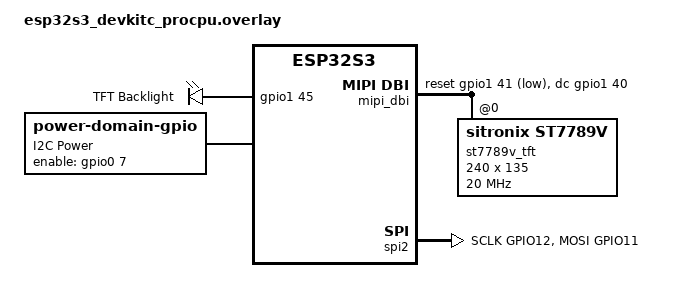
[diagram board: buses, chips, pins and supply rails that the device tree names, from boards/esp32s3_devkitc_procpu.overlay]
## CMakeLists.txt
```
cmake_minimum_required(VERSION 3.20.0)
find_package(Zephyr REQUIRED HINTS $ENV{ZEPHYR_BASE})
project(tft_console)

FILE(GLOB app_sources src/*.c)
target_sources(app PRIVATE ${app_sources})
```

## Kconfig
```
mainmenu "LCD console sample"

menu "LCD console sample configuration"

config LCD_CONSOLE_MIRROR
	bool "Mirror UART shell activity to LCD"
	default y
	depends on LVGL && SHELL
	help
	  Mirror serial shell input/output and LOG messages onto the LVGL based
	  LCD console widget used in this sample.

config LCD_CONSOLE_LOG_BUFFER_SIZE
	int "LCD log backend buffer size"
	default 256
	depends on LCD_CONSOLE_MIRROR && LOG
	help
	  Temporary buffer size, in bytes, used by the LCD log backend when
	  formatting log messages.

endmenu

source "Kconfig.zephyr"
```

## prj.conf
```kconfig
CONFIG_LOG=y

CONFIG_SPI=y
CONFIG_GPIO=y
CONFIG_DISPLAY=y

# 启用 MIPI DBI for LCD
CONFIG_MIPI_DBI=y
CONFIG_MIPI_DBI_SPI=y

# 启用 LVGL 核心功能
CONFIG_LVGL=y
CONFIG_LV_COLOR_DEPTH_16=y
CONFIG_LV_USE_LABEL=y
CONFIG_LV_USE_BUTTON=y
CONFIG_LV_USE_BAR=y
CONFIG_LV_USE_SLIDER=y
CONFIG_LV_USE_ARC=y
CONFIG_LV_USE_SWITCH=y
CONFIG_LV_USE_CHECKBOX=y
CONFIG_LV_USE_THEME_DEFAULT=n
CONFIG_LV_USE_LOG=y

# 字体配置 - 清晰位图字体
CONFIG_LV_FONT_MONTSERRAT_12=y
CONFIG_LV_FONT_MONTSERRAT_8=y
CONFIG_LV_FONT_MONTSERRAT_18=y
CONFIG_LV_FONT_DEFAULT_MONTSERRAT_8=y
CONFIG_LV_FONT_UNSCII_8=y
CONFIG_LV_FONT_UNSCII_16=y

# 内存和性能优化
CONFIG_LV_Z_MEM_POOL_SIZE=32768
CONFIG_LV_Z_BUFFER_ALLOC_STATIC=y

# 启用复杂绘制以避免警告
CONFIG_LV_DRAW_SW_COMPLEX=y

# 显示器设置 - 确保像素完美
CONFIG_LV_COLOR_16_SWAP=n

# LVGL 显示缓冲区配置 - 最小化以减少花色
CONFIG_LV_Z_VDB_SIZE=10
CONFIG_LV_Z_MEM_POOL_SYS_HEAP=y

# LVGL 刷新配置 - 提高刷新率以获得更清晰显示
CONFIG_LV_DEF_REFR_PERIOD=30
CONFIG_LV_Z_AUTO_INIT=y
CONFIG_LV_Z_FLUSH_THREAD=n

# Shell 配置 - 使用串口shell输入，LCD显示输出
CONFIG_SHELL=y
CONFIG_SHELL_BACKENDS=y
CONFIG_SHELL_BACKEND_DUMMY=y

# Shell输出重定向配置
CONFIG_SHELL_LOG_BACKEND=y

# Shell 扩展功能
CONFIG_SHELL_CMDS=y
CONFIG_SHELL_HISTORY=y
CONFIG_SHELL_HISTORY_BUFFER=128
CONFIG_SHELL_STATS=y

# 控制台和打印重映射 - 保持串口可用，添加LCD后端
CONFIG_CONSOLE=y
CONFIG_CONSOLE_SUBSYS=y
CONFIG_CONSOLE_HANDLER=y
CONFIG_STDOUT_CONSOLE=y

# LOG系统 - 启用串口和自定义后端
CONFIG_LOG_BACKEND_UART=y
CONFIG_LOG_BACKEND_RTT=n

# 启用输入子系统支持
CONFIG_INPUT=y

# 启用串口Shell作为输入源（通过UART输入命令）
CONFIG_SHELL_BACKEND_SERIAL=y
CONFIG_SHELL_PROMPT_UART="s3:~$ "

# 启用控制台重定向支持
CONFIG_UART_CONSOLE=y

# 添加串口输入输出重定向
CONFIG_PRINTK=y
CONFIG_EARLY_CONSOLE=y
CONFIG_HEAP_MEM_POOL_SIZE=16384

# 增加堆栈大小
CONFIG_MAIN_STACK_SIZE=8192
CONFIG_SYSTEM_WORKQUEUE_STACK_SIZE=8192
```

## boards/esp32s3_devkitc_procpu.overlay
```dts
/*
 *	FT display overlay for ESP32-S3 DevKitC
 */
/ {
	chosen {
		zephyr,display = &st7789v_tft;
	};

	aliases {
		backlight = &tft_backlight;
	};

	leds {
		compatible = "gpio-leds";
		status = "okay";

		tft_backlight: tft_backlight {
			label = "TFT Backlight";
			gpios = <&gpio1 45 GPIO_ACTIVE_HIGH>;
		};
	};

	mipi_dbi {
		compatible = "zephyr,mipi-dbi-spi";
		spi-dev = <&spi2>;
		dc-gpios = <&gpio1 40 GPIO_ACTIVE_HIGH>;
		reset-gpios = <&gpio1 41 GPIO_ACTIVE_LOW>;
		write-only;
		#address-cells = <1>;
		#size-cells = <0>;

		st7789v_tft: st7789v_tft@0 {
			compatible = "sitronix,st7789v";
			status = "okay";

			/* Also powered by i2c_reg */
			power-domains = <&i2c_reg>;

			mipi-max-frequency = <DT_FREQ_M(20)>;
			reg = <0>;
			width = <240>;
			height = <135>;
			x-offset = <40>;
			y-offset = <52>;
			vcom = <0x20>;
			gctrl = <0x35>;
			vrhs = <0x0b>;
			vdvs = <0x20>;
			mdac = <0x68>;
			gamma = <0x01>;
			colmod = <0x55>;
			lcm = <0x2c>;
			porch-param = [0c 0c 00 33 33];
			cmd2en-param = [5a 69 02 01];
			pwctrl1-param = [a4 a1];
			pvgam-param = [70 2C 2E 15 10 09 48 33 53 0B 19 18 20 25];
			nvgam-param = [70 2C 2E 15 10 09 48 33 53 0B 19 18 20 25];
			ram-param = [00 F0];
			rgb-param = [40 02 14];
			mipi-mode = "MIPI_DBI_MODE_SPI_4WIRE";
		};
	};

	/*
	 *	On-board regulator powers I2C pull-ups and external devices connected
	 *	via the STEMMA QT connector.
	 */
	i2c_reg: i2c_reg {
		label = "I2C Power";
		compatible = "power-domain-gpio";
		#power-domain-cells = <0>;
		enable-gpios = <&gpio0 7 GPIO_ACTIVE_HIGH>;
	};

};

&spi2 { 
	status = "okay"; 
	cs-gpios = <&gpio0 10 GPIO_ACTIVE_LOW>; 
	pinctrl-0 = <&spi2_pins>; 
	pinctrl-names = "default"; 
}; 

&pinctrl { 
	spi2_pins: spi2_pins { 
		group1 { 
			pinmux = <SPIM2_SCLK_GPIO12>; 
		}; 
		group2 { 
			pinmux = <SPIM2_MOSI_GPIO11>; 
			output-enable; 
		}; 
	}; 
};
```

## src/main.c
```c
/*
 * ESP32-S3 TFT Display with Real Interactive Shell
 * Copyright (c) 2025 Heiweilu
 *
 * SPDX-License-Identifier: Apache-2.0
 */

#include <zephyr/kernel.h>
#include <zephyr/device.h>
#include <zephyr/devicetree.h>
#include <zephyr/shell/shell.h>
#include <zephyr/logging/log.h>
#include <zephyr/sys/printk.h>
#include <zephyr/console/console.h>
#include <zephyr/input/input.h>
#include <zephyr/drivers/uart.h>
#include <zephyr/shell/shell_uart.h>
#include <stdarg.h>
#include <stdio.h>
#include <string.h>
#include <stdint.h>
#include "lvgl_wrapper.h"

LOG_MODULE_REGISTER(main, LOG_LEVEL_INF);

/* Real interactive shell includes */
#include "lcd_shell_backend.h"

/* ================= LCD initialization ================= */
#include <zephyr/drivers/display.h>
#include <zephyr/drivers/gpio.h>

#define TFT_NODE DT_CHOSEN(zephyr_display)

#if DT_NODE_EXISTS(TFT_NODE)
static const struct gpio_dt_spec backlight = GPIO_DT_SPEC_GET(DT_ALIAS(backlight), gpios);
#endif

static int lcd_init(void)
{
	const struct device *disp = DEVICE_DT_GET(TFT_NODE);
	if (!device_is_ready(disp)) {
		LOG_ERR("Display not ready");
		return -ENODEV;
	}

	LOG_INF("Display device ready: %s", disp->name);

#if DT_NODE_EXISTS(TFT_NODE) && DT_NODE_EXISTS(DT_ALIAS(backlight))
	if (gpio_is_ready_dt(&backlight)) {
		gpio_pin_configure_dt(&backlight, GPIO_OUTPUT_ACTIVE);
	}
#endif

	/* Get display capabilities and log them */
	struct display_capabilities caps;
	display_get_capabilities(disp, &caps);

	/* Turn off display blanking */
	display_blanking_off(disp);
	k_msleep(500);

	return 0;
}

/* ================= LVGL & GUI Setup ================= */
#include <lvgl.h>
#include <stdio.h>
#include <string.h>

LV_FONT_DECLARE(lv_font_unscii_8)

/* GUI Application Structure */
typedef struct {
	lv_obj_t *main_screen;
	lv_obj_t *console_container;
	lv_obj_t *status_bar;
	lv_obj_t *status_label;
	lv_obj_t *console_label;
} gui_app_t;

static gui_app_t app = {0};

/* Shell display buffer */
#define SHELL_DISPLAY_BUFFER_SIZE 2048
static char shell_display_buffer[SHELL_DISPLAY_BUFFER_SIZE] = {0};
static size_t shell_display_len = 0;

/* Current input line received from backend (real-time) */
#define CURRENT_INPUT_LINE_SIZE 256
static char current_input_line[CURRENT_INPUT_LINE_SIZE] = {0};
static size_t current_input_len = 0;

/* Display update tracking */
static bool display_update_needed = false;

/* ================= ANSI Filtering Helper Functions ================= */

/**
 * @brief Check if a short data packet is an ANSI escape sequence fragment
 *
 * Shell may send ANSI sequences in fragments like:
 * - [1B 5B 6D] = ESC[m (complete sequence)
 * - [5B 6D] = [m (fragment missing ESC)
 * - [6D] = m (lone 'm' character)
 * - [3B 33 32 6D] = ;32m (color code fragment)
 *
 * This function detects and rejects all such fragments.
 *
 * @param data Pointer to data buffer
 * @param len Length of data
 * @return true if data is ANSI garbage and should be filtered
 */
static bool is_ansi_escape_fragment(const char *data, size_t len)
{
	if (len < 1 || len > 6) {
		return false;
	}

	/* Pattern 1: Reject any sequence ending with 'm' (0x6D) */
	if (data[len - 1] == 'm') {
		/* Check if this looks like ANSI garbage */
		bool is_ansi_garbage = false;

		/* Pattern: ends with 'm' and contains '[', digits, or ';' */
		for (size_t i = 0; i < len; i++) {
			char c = data[i];
			if (c == '[' || c == ';' || (c >= '0' && c <= '9') || c == 0x1B) {
				is_ansi_garbage = true;
				break;
			}
		}

		/* Also reject standalone 'm' or very short sequences ending in 'm' */
		if (len == 1 || is_ansi_garbage) {
			return true;
		}
	}

	/* Pattern 2: Reject sequences starting with '[' that look like ANSI fragments */
	if (data[0] == '[' && len >= 2) {
		char second = data[1];
		/* If second char is digit, 'm', 'J', 'D', or ';' - likely ANSI */
		if (second == 'm' || second == 'J' || second == 'D' || second == 'H' ||
		    second == ';' || (second >= '0' && second <= '9')) {
			return true;
		}
	}

	return false;
}

/**
 * @brief Check if data contains only control characters (non-printable)
 *
 * @param data Pointer to data buffer
 * @param len Length of data
 * @return true if data contains only unexpected control characters
 */
static bool is_control_only(const char *data, size_t len)
{
	if (len == 0) {
		return true;
	}

	bool has_control_only = true;
	for (size_t i = 0; i < len; i++) {
		uint8_t c = (uint8_t)data[i];
		/* Allow only specific control chars: newline, tab, backspace, carriage return, ESC
		 */
		if (c >= 32 || c == '\n' || c == '\t' || c == '\b' || c == '\r' || c == 0x1B) {
			has_control_only = false;
			break;
		}
	}

	return has_control_only;
}

/**
 * @brief Process a single character for display filtering
 *
 * This function implements aggressive filtering to prevent ANSI escape
 * sequence fragments from appearing on the LCD display.
 *
 * @param c Character to process
 * @param data Full data buffer (for lookahead)
 * @param len Length of full data buffer
 * @param i Current index in data buffer
 * @return true if character should be skipped
 */
static bool should_skip_character(char c, const char *data, size_t len, size_t i)
{
	/* If this is '[', peek ahead to see if it's part of ANSI code */
	if (c == '[' && i + 1 < len) {
		char next = data[i + 1];
		if ((next >= '0' && next <= '9') || next == 'm' || next == ';') {
			return true;
		}
	}

	/* If this is 'm' and previous char in buffer was '[' or digit, skip it */
	if (c == 'm' && shell_display_len > 0) {
		char prev = shell_display_buffer[shell_display_len - 1];
		if (prev == '[' || (prev >= '0' && prev <= '9') || prev == ';') {
			/* This 'm' is likely the end of an ANSI code, skip it */
			/* Also remove any trailing ANSI garbage from buffer */
			while (shell_display_len > 0) {
				char ch = shell_display_buffer[shell_display_len - 1];
				if (ch == '[' || (ch >= '0' && ch <= '9') || ch == ';') {
					shell_display_len--;
				} else {
					break;
				}
			}
			return true;
		}
	}

	/* Skip digits and semicolons if they appear right after '[' */
	if ((c >= '0' && c <= '9') || c == ';') {
		if (shell_display_len > 0 && shell_display_buffer[shell_display_len - 1] == '[') {
			return true;
		}
	}

	return false;
}

/**
 * @brief Process shell output data and add to display buffer
 *
 * Only allows printable ASCII (32-126), newline, tab, and backspace.
 * Filters out all ANSI escape sequences and control characters.
 *
 * @param data Pointer to output data
 * @param len Length of data
 */
static void process_shell_output(const char *data, size_t len)
{
	for (size_t i = 0; i < len; i++) {
		char c = data[i];

		if (c == '\n') {
			/* Allow newline */
			if (shell_display_len < sizeof(shell_display_buffer) - 1) {
				shell_display_buffer[shell_display_len++] = '\n';
			}
		} else if (c == '\b') {
			/* Handle backspace */
			if (shell_display_len > 0) {
				shell_display_len--;
			}
		} else if (c == '\t') {
			/* Allow tab */
			if (shell_display_len < sizeof(shell_display_buffer) - 1) {
				shell_display_buffer[shell_display_len++] = '\t';
			}
		} else if (c >= 32 && c <= 126) {
			/* Only allow printable ASCII characters (space to ~) */
			if (!should_skip_character(c, data, len, i) &&
			    shell_display_len < sizeof(shell_display_buffer) - 1) {
				shell_display_buffer[shell_display_len++] = c;
			}
		}
		/* All other characters (ESC, control chars, etc.) are silently dropped */
	}

	shell_display_buffer[shell_display_len] = '\0';

	/* Keep only last ~1500 chars to prevent overflow */
	if (shell_display_len > 1500) {
		size_t keep_len = 1000;
		memmove(shell_display_buffer, shell_display_buffer + (shell_display_len - keep_len),
			keep_len);
		shell_display_len = keep_len;
		shell_display_buffer[shell_display_len] = '\0';
	}
}

/* ================= Shell Output Callback ================= */

/* Shell output callback - called when shell produces output */
static void shell_output_callback(const char *data, size_t len)
{
	if (!data || len == 0) {
		return;
	}

	/* ULTRA-AGGRESSIVE FILTER: Block ANY data containing ANSI escape patterns.
	 * Based on hex dump analysis, shell sends fragments like:
	 * - [1B 5B 6D] = ESC[m (complete, should be filtered by state machine)
	 * - [5B 6D] = [m (fragment missing ESC)
	 * - [6D] = m (lone 'm' character)
	 * - [3B 33 32 6D] = ;32m (ANSI color code fragment)
	 * We must reject ALL of these.
	 */
	if (is_ansi_escape_fragment(data, len)) {
		return; /* Skip ANSI fragment */
	}

	/* Filter out control-only data */
	if (is_control_only(data, len)) {
		return;
	}

	/* Special-case: backend may send input-only updates prefixed with 0x1F (unit separator)
	 * Format: 0x1F <input bytes...>
	 * When detected, update current_input_line immediately and return.
	 */
	if (len > 0 && (uint8_t)data[0] == 0x1F) {
		size_t copy_len = len - 1;

		if (copy_len >= CURRENT_INPUT_LINE_SIZE) {
			copy_len = CURRENT_INPUT_LINE_SIZE - 1;
		}

		memcpy(current_input_line, data + 1, copy_len);

		current_input_line[copy_len] = '\0';
		current_input_len = copy_len;
		display_update_needed = true;

		LOG_INF("main: received input update len=%zu content='%s'", copy_len,
			current_input_line);

		return;
	}

	/* Process and filter shell output */
	process_shell_output(data, len);

	/* Mark that display needs update */
	display_update_needed = true;
}

/* Shell output capture mechanism */
static bool shell_capture_active = false;

/* Transport write function interception */
static int (*original_uart_write)(const struct shell_transport *transport, const void *data,
				  size_t length, size_t *cnt) = NULL;
/* Transport read function interception (to capture input bytes) */
static int (*original_uart_read)(const struct shell_transport *transport, void *data, size_t length,
				 size_t *cnt) = NULL;

/* Small buffer to remember last intercepted read (to track tab completion)
 * When user presses Tab, we detect the tab in read, then capture the completion
 * text from the subsequent write and forward it to update the input display.
 */
#define LAST_READ_BUF_SIZE 32
#define ECHO_WINDOW_MS     200

typedef struct {
	uint8_t last_read_buf[LAST_READ_BUF_SIZE];
	size_t last_read_len;
	uint32_t last_read_ts;
	bool last_read_was_tab;
} last_read_t;
last_read_t last_read = {0};

/* Intercepted UART transport write function */
static int intercepted_uart_write(const struct shell_transport *transport, const void *data,
				  size_t length, size_t *cnt)
{
	/* Forward to LCD if capture is active */
	if (shell_capture_active && data && length > 0) {
		const char *str = (const char *)data;

		/* Filter out LOG messages to avoid infinite recursion */
		if (length < 20 || strncmp(str, "[00:", 4) != 0) {
			/* Forward to output callback for display history */
			shell_output_callback(str, length);

			/* Special handling for tab completion:
			 * If the last read was a tab character and this write contains
			 * printable characters (the completion), update the input buffer.
			 */
			if (last_read.last_read_was_tab && length > 0 && length < 64) {
				/* Check if this looks like a completion (printable chars, no
				 * newline) */
				bool looks_like_completion = true;
				for (size_t i = 0; i < length; i++) {
					char c = str[i];
					if (c == '\n' || c == '\r' || c == 0x1B) {
						looks_like_completion = false;
						break;
					}
					if (c < 32 && c != '\t' && c != '\b') {
						looks_like_completion = false;
						break;
					}
				}

				if (looks_like_completion) {
					/* This is likely tab completion output - forward to input
					 * handler */
					LOG_DBG("Tab completion detected, forwarding %zu bytes to "
						"input",
						length);
					lcd_shell_send_input(str, length);
					last_read.last_read_was_tab = false; /* Reset flag */
				}
			}
		}
	}

	/* Call original write function */
	if (original_uart_write) {
		return original_uart_write(transport, data, length, cnt);
	} else {
		*cnt = length;
		return 0;
	}
}

static void lvgl_init(void)
{
	/* Initialize main screen */
	app.main_screen = lv_screen_active();
	lv_obj_set_style_bg_color(app.main_screen, lv_color_black(), LV_PART_MAIN);
	lv_obj_set_style_bg_opa(app.main_screen, LV_OPA_COVER, LV_PART_MAIN);

	/* Create status bar */
	app.status_bar = create_container(app.main_screen, 240, 20, 0, 0, 2, 1,
					  lv_color_make(0x40, 0x40, 0x40), 0,
					  lv_color_make(0x20, 0x20, 0x20), 0);

	app.status_label = create_label(app.status_bar, "ESP32-S3 Interactive Shell", 2, 2, 230,
					lv_color_make(0x00, 0x00, 0x00), &lv_font_unscii_8, false);

	/* Create console container */
	app.console_container =
		create_container(app.main_screen, 240, 115, 0, 20, 2, 1,
				 lv_color_make(0x00, 0x40, 0x00), 0, lv_color_black(), 0);

	/* Create console label for shell output */
	app.console_label = create_label(app.console_container, "", 3, 3, 225,
					 lv_color_make(0xFF, 0xFF, 0xFF), &lv_font_unscii_8, false);

	/* Configure console label for scrollable multi-line text */
	lv_label_set_long_mode(app.console_label, LV_LABEL_LONG_WRAP);
	lv_obj_set_width(app.console_label, 225);
	lv_obj_set_height(app.console_label, 105);
	lv_obj_set_style_text_align(app.console_label, LV_TEXT_ALIGN_LEFT, 0);
	lv_obj_set_scrollbar_mode(app.console_label, LV_SCROLLBAR_MODE_AUTO);
}

/* if want to print to serial: shell_print(sh, "text %d", value); */
static int cmd_system_info(const struct shell *sh, size_t argc, char **argv)
{
	ARG_UNUSED(argc);
	ARG_UNUSED(argv);

	static const char *const sys_info[] = {"== Sys Info ==\n",
					       "CPU: ESP32-S3 @ 240MHz\n",
					       "PSRAM: 8MB\n",
					       "Flash: 16MB\n",
					       "Zephyr: v4.2.99\n",
					       "LVGL: v9.x\n",
					       NULL};

	for (int i = 0; sys_info[i] != NULL; i++) {
		shell_output_callback(sys_info[i], strlen(sys_info[i]));
	}

	return 0;
}

static int cmd_lcd_clear(const struct shell *sh, size_t argc, char **argv)
{
	ARG_UNUSED(argc);
	ARG_UNUSED(argv);

	/* Clear display buffer */
	shell_display_len = 0;
	strcpy(shell_display_buffer, "");
	shell_display_len = strlen(shell_display_buffer);

	if (app.console_label) {
		lv_label_set_text(app.console_label, shell_display_buffer);
		lv_obj_invalidate(app.console_label);
	}

	return 0;
}

static int cmd_demo(const struct shell *sh, size_t argc, char **argv)
{
	ARG_UNUSED(argc);
	ARG_UNUSED(argv);

	shell_output_callback("Running demo\n", 25);

	for (int i = 1; i <= 5; i++) {
		char step_buf[32];

		snprintf(step_buf, sizeof(step_buf), "Demo step %d/5\n", i);
		shell_output_callback(step_buf, strlen(step_buf));

		k_msleep(500);
	}

	shell_output_callback("Demo completed!\n", 16);

	return 0;
}

/* Register shell commands */
SHELL_CMD_REGISTER(sysinfo, NULL, "Show system information", cmd_system_info);
SHELL_CMD_REGISTER(clear, NULL, "", cmd_lcd_clear);
SHELL_CMD_REGISTER(demo, NULL, "Run demo", cmd_demo);

/* Forward declaration for intercepted read function (definition after main) */
static int intercepted_uart_read(const struct shell_transport *transport, void *data, size_t length,
				 size_t *cnt);

/* Consume any backend input updates from message queue (non-blocking) */
static void consume_backend_input(void)
{
	uint8_t msg_type = 0;
	char inbuf[CURRENT_INPUT_LINE_SIZE];
	int got = 0;

	while ((got = lcd_shell_try_get_input(&msg_type, inbuf, sizeof(inbuf))) >= 0) {
		if (got == 0 && msg_type == 0) {
			break; /* no more messages */
		}

		if (msg_type == MSG_TYPE_INPUT) {
			/* Update current input line for rendering */
			size_t copy_len = (got < CURRENT_INPUT_LINE_SIZE - 1)
						  ? (size_t)got
						  : (CURRENT_INPUT_LINE_SIZE - 1);

			memcpy(current_input_line, inbuf, copy_len);
			current_input_line[copy_len] = '\0';
			current_input_len = copy_len;
			display_update_needed = true;
		} else if (msg_type == MSG_TYPE_ENTER) {
			/* Clear any pending typed text shown at prompt area.
			 * Remove the trailing partial line (prompt + typed)
			 * from shell_display_buffer so console shows only output.
			 */
			/* Find last newline in shell_display_buffer */
			ssize_t last_nl = -1;

			for (ssize_t i = (ssize_t)shell_display_len - 1; i >= 0; i--) {
				if (shell_display_buffer[i] == '\n') {
					last_nl = i;
					break;
				}
			}

			if (last_nl >= 0) {
				/* keep up to and including last_nl */
				shell_display_len = (size_t)last_nl + 1;
				shell_display_buffer[shell_display_len] = '\0';
			} else {
				/* No newline, clear whole buffer */
				shell_display_len = 0;
				shell_display_buffer[0] = '\0';
			}

			/* Also clear the current input line displayed */
			current_input_len = 0;
			current_input_line[0] = '\0';
			display_update_needed = true;
		}
	}
}
/* High priority: Check for display update immediately */
static void check_display_update(void)
{
	if (display_update_needed && app.console_label) {
		/* 如果有当前输入行，把它临时附加到显示缓冲的末尾用于渲染 */
		char tmp_buf[SHELL_DISPLAY_BUFFER_SIZE + CURRENT_INPUT_LINE_SIZE];
		/* Build tmp_buf by copying shell_display_buffer but replace the trailing
		 * partial line (after last '\n') with current_input_line so edits are
		 * immediately visible where the prompt/input sits.
		 */
		size_t base_len = 0;
		/* Find last newline in shell_display_buffer */
		ssize_t last_nl = -1;
		for (ssize_t i = (ssize_t)shell_display_len - 1; i >= 0; i--) {
			if (shell_display_buffer[i] == '\n') {
				last_nl = i;
				break;
			}
		}
		if (last_nl >= 0) {
			/* Keep up to and including the last newline */
			base_len = (size_t)last_nl + 1;
		} else {
			/* No newline found: drop any trailing partial content and start
			 * fresh */
			base_len = 0;
		}
		if (base_len > sizeof(tmp_buf) - 1) {
			base_len = sizeof(tmp_buf) - 1;
		}
		memcpy(tmp_buf, shell_display_buffer, base_len);
		/* Append prompt and current input line after the last newline */
		const char *prompt = "s3:~$ ";
		size_t prompt_len = strlen(prompt);
		/* Ensure prompt fits */
		size_t copy_len = prompt_len + current_input_len;
		if (base_len + copy_len >= sizeof(tmp_buf) - 1) {
			copy_len = sizeof(tmp_buf) - 1 - base_len;
		}
		if (copy_len > 0) {
			/* Copy prompt then input (truncated to fit) */
			size_t to_copy_prompt = prompt_len;
			if (to_copy_prompt > sizeof(tmp_buf) - 1 - base_len) {
				to_copy_prompt = sizeof(tmp_buf) - 1 - base_len;
			}
			memcpy(tmp_buf + base_len, prompt, to_copy_prompt);
			base_len += to_copy_prompt;
			/* Copy input content after prompt */
			size_t avail = sizeof(tmp_buf) - 1 - base_len;
			size_t to_copy_input = current_input_len;
			if (to_copy_input > avail) {
				to_copy_input = avail;
			}
			if (to_copy_input > 0) {
				memcpy(tmp_buf + base_len, current_input_line, to_copy_input);
				base_len += to_copy_input;
			}
		}
		tmp_buf[base_len] = '\0';
		lv_label_set_text(app.console_label, tmp_buf);
		lv_obj_scroll_to_y(app.console_label, LV_COORD_MAX, LV_ANIM_OFF);
		/* Also update status label with current input for quick visual debug */
		if (app.status_label) {
			char in_dbg[512];
			if (current_input_len > 0) {
				snprintk(in_dbg, sizeof(in_dbg), "in:%s", current_input_line);
			} else {
				snprintk(in_dbg, sizeof(in_dbg), "in:");
			}
			lv_label_set_text(app.status_label, in_dbg);
			lv_obj_invalidate(app.status_label);
		}
		lv_obj_invalidate(app.console_label);
		display_update_needed = false;
	}
}
/* Intercepted UART read function */
static int intercepted_uart_read(const struct shell_transport *transport, void *data, size_t length,
				 size_t *cnt)
{
	int ret = 0;
	/* Call original read to let shell consume data as usual */
	if (original_uart_read) {
		ret = original_uart_read(transport, data, length, cnt);
	} else {
		*cnt = 0;
		ret = 0;
	}

	/* If shell_capture_active and we received input bytes, forward to lcd backend input handler
	 */
	if (shell_capture_active && data && cnt && *cnt > 0) {
		const char *input_data = (const char *)data;

		/* Check if this read contains a tab character */
		last_read.last_read_was_tab = false;
		for (size_t i = 0; i < *cnt; i++) {
			if (input_data[i] == '\t') {
				last_read.last_read_was_tab = true;
				last_read.last_read_ts = k_uptime_get_32();
				LOG_DBG("Tab character detected in read");
				break;
			}
		}

		/* Store last read data for echo detection */
		size_t copy_len = (*cnt < LAST_READ_BUF_SIZE) ? *cnt : LAST_READ_BUF_SIZE;
		memcpy(last_read.last_read_buf, data, copy_len);
		last_read.last_read_len = copy_len;

		/* Forward to backend to update LCD input line */
		LOG_DBG("intercepted read: got %zu bytes", *cnt);
		lcd_shell_send_input(input_data, *cnt);
	}

	return ret;
}

/* Update status bar every 5 seconds */
typedef struct {
	uint32_t counter;
	uint32_t uptime_ms;
	uint32_t seconds;
	uint32_t minutes;
	uint32_t hours;
} status_info_t;
static status_info_t status_info = {0};

static void update_status_bar(void)
{
	if (status_info.counter % 200 == 0) {
		status_info.uptime_ms = k_uptime_get_32();
		status_info.seconds = status_info.uptime_ms / 1000;
		status_info.minutes = status_info.seconds / 60;
		status_info.hours = status_info.minutes / 60;

		char status_text[64];
		snprintf(status_text, sizeof(status_text), "Shell Active | Up: %02lu:%02lu:%02lu",
			 (unsigned long)(status_info.hours % 24),
			 (unsigned long)(status_info.minutes % 60),
			 (unsigned long)(status_info.seconds % 60));

		if (app.status_label) {
			lv_label_set_text(app.status_label, status_text);
		}
	}

	status_info.counter++;
}

/**
 * hook_uart_shell_transport
 *
 * Locate the default UART shell transport and replace its read/write
 * function pointers with our interceptors so we can capture both
 * output (for history rendering) and input bytes (for live prompt updates).
 *
 * This function preserves the original function pointers in
 * `original_uart_write` and `original_uart_read` so the shell continues
 * to operate normally after interception.
 */
static void hook_uart_shell_transport(void)
{
	const struct shell *default_shell = shell_backend_uart_get_ptr();
	if (default_shell && default_shell->iface && default_shell->iface->api) {
		struct shell_transport_api *api =
			(struct shell_transport_api *)default_shell->iface->api;

		// Save original function pointers
		original_uart_write = api->write;
		original_uart_read = api->read;

		// Replace with our interceptor functions
		api->write = intercepted_uart_write;
		api->read = intercepted_uart_read;

		LOG_INF("UART shell transport functions intercepted successfully");
	} else {
		LOG_WRN("Could not hook into UART shell transport");
	}
}
int main(void)
{
	int ret;

	ret = lcd_init();
	if (ret != 0) {
		LOG_ERR("Failed to initialize LCD: %d", ret);
		return ret;
	}

	lvgl_init();

	ret = lcd_shell_backend_init();
	if (ret != 0) {
		LOG_ERR("Failed to initialize shell backend: %d", ret);
		return ret;
	}

	/* Set shell output callback */
	lcd_shell_set_output_callback(shell_output_callback);

	/* Hook into default UART shell transport */
	hook_uart_shell_transport();

	/* Activate shell output capture */
	shell_capture_active = true;

	while (1) {
		/* Handle LVGL tasks */
		lv_timer_handler();

		/* Consume any pending input from shell backend */
		consume_backend_input();

		/* Check if display needs update */
		check_display_update();

		/* Update status bar every 5 seconds */
		update_status_bar();

		/* Reduced sleep time for faster LCD updates */
		k_msleep(25);
	}

	return 0;
}
```

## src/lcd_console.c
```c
/*
 * LCD Console Redirect Module Implementation
 * Copyright (c) 2025 Heiweilu
 *
 * SPDX-License-Identifier: Apache-2.0
 */

#include "lcd_console.h"
#include "lvgl_wrapper.h"

#include <ctype.h>
#include <stdio.h>
#include <string.h>

#include <zephyr/console/console.h>
#include <zephyr/logging/log_backend.h>
#include <zephyr/logging/log_backend_std.h>
#include <zephyr/logging/log_output.h>
#include <zephyr/logging/log_ctrl.h>
#include <zephyr/shell/shell.h>
#include <zephyr/sys/printk.h>
#include <zephyr/sys/printk-hooks.h>
#include <zephyr/sys/util.h>

LV_FONT_DECLARE(lv_font_unscii_8)

LOG_MODULE_REGISTER(lcd_console, LOG_LEVEL_INF);

#define LCD_CONSOLE_EVENT_DATA_MAX 96
#define LCD_CONSOLE_EVENT_QUEUE_LEN 16

enum lcd_console_event_type {
	LCD_EVENT_OUTPUT = 0,
	LCD_EVENT_INPUT = 1,
};

struct lcd_console_event {
	uint8_t type;
	uint8_t len;
	char data[LCD_CONSOLE_EVENT_DATA_MAX];
};

K_MSGQ_DEFINE(lcd_console_event_queue,
		      sizeof(struct lcd_console_event),
		      LCD_CONSOLE_EVENT_QUEUE_LEN,
		      4);

static lcd_console_t g_lcd_console;
static bool console_initialized;
static printk_hook_fn_t original_console_out;

static void lcd_console_enqueue(enum lcd_console_event_type type,
				       const char *data,
				       size_t len);
static void lcd_console_process_queue(void);
static void lcd_console_handle_output(const char *data, size_t len);
static void lcd_console_handle_input(const char *data, size_t len);
static void lcd_console_reset_input(void);

#if defined(CONFIG_LOG)
static uint8_t lcd_console_log_buffer[CONFIG_LCD_CONSOLE_LOG_BUFFER_SIZE];

static int lcd_console_log_out(uint8_t *data, size_t length, void *ctx)
{
	ARG_UNUSED(ctx);
	lcd_console_write((const char *)data, length);
	return length;
}

LOG_OUTPUT_DEFINE(lcd_console_log_output,
		      lcd_console_log_out,
		      lcd_console_log_buffer,
		      sizeof(lcd_console_log_buffer));

struct lcd_console_log_ctx {
	const struct log_output *output;
	uint32_t format;
	bool panic_mode;
};

static struct lcd_console_log_ctx lcd_console_log_ctx = {
	.output = &lcd_console_log_output,
	.format = LOG_OUTPUT_TEXT,
	.panic_mode = false,
};

static void lcd_console_log_process(const struct log_backend *const backend,
				        union log_msg_generic *msg)
{
	struct lcd_console_log_ctx *ctx = backend->cb->ctx;
	log_format_func_t formatter = log_format_func_t_get(ctx->format);

	if (formatter == NULL) {
		return;
	}

	uint32_t flags = log_backend_std_get_flags();
	formatter(ctx->output, &msg->log, flags);
}

static void lcd_console_log_panic(const struct log_backend *const backend)
{
	struct lcd_console_log_ctx *ctx = backend->cb->ctx;

	ctx->panic_mode = true;
	log_backend_std_panic(ctx->output);
}

static void lcd_console_log_dropped(const struct log_backend *const backend,
				       uint32_t cnt)
{
	struct lcd_console_log_ctx *ctx = backend->cb->ctx;

	log_backend_std_dropped(ctx->output, cnt);
}

static int lcd_console_log_format_set(const struct log_backend *const backend,
				          uint32_t log_type)
{
	if (log_format_func_t_get(log_type) == NULL) {
		return -EINVAL;
	}

	struct lcd_console_log_ctx *ctx = backend->cb->ctx;

	ctx->format = log_type;
	return 0;
}

static void lcd_console_log_init(struct log_backend const *const backend)
{
	struct lcd_console_log_ctx *ctx = backend->cb->ctx;

	ctx->panic_mode = false;
}

static const struct log_backend_api lcd_console_log_backend_api = {
	.process = lcd_console_log_process,
	.panic = lcd_console_log_panic,
	.dropped = lcd_console_log_dropped,
	.init = lcd_console_log_init,
	.format_set = lcd_console_log_format_set,
};

LOG_BACKEND_DEFINE(log_backend_lcd_console,
		       lcd_console_log_backend_api,
		       true,
		       &lcd_console_log_ctx);
#endif /* CONFIG_LOG */

static void lcd_console_reset_input(void)
{
	g_lcd_console.input_len = 0U;
	g_lcd_console.input_buffer[0] = '\0';
	if (g_lcd_console.input_area != NULL) {
		lv_textarea_set_text(g_lcd_console.input_area, "");
	}
}

static void lcd_console_enqueue(enum lcd_console_event_type type,
				       const char *data,
				       size_t len)
{
	while (len > 0U) {
		struct lcd_console_event evt = {
			.type = (uint8_t)type,
		};
		size_t chunk = MIN(len, (size_t)LCD_CONSOLE_EVENT_DATA_MAX);

		evt.len = (uint8_t)chunk;
		memcpy(evt.data, data, chunk);

		if (k_msgq_put(&lcd_console_event_queue, &evt, K_NO_WAIT) != 0) {
			break;
		}

		data += chunk;
		len -= chunk;
	}
}

static void lcd_console_handle_output(const char *data, size_t len)
{
	lcd_console_t *console = &g_lcd_console;

	k_mutex_lock(&console->buffer_mutex, K_FOREVER);

	for (size_t i = 0U; i < len; i++) {
		char c = data[i];

		switch (console->ansi_state) {
		case LCD_ANSI_IDLE:
			if ((unsigned char)c == 0x1B) {
				console->ansi_state = LCD_ANSI_ESC;
				continue;
			}
			break;
		case LCD_ANSI_ESC:
			console->ansi_state = (c == '[') ? LCD_ANSI_CSI : LCD_ANSI_IDLE;
			continue;
		case LCD_ANSI_CSI:
			if (c >= '@' && c <= '~') {
				console->ansi_state = LCD_ANSI_IDLE;
			}
			continue;
		default:
			console->ansi_state = LCD_ANSI_IDLE;
			break;
		}

		if (c == '\r') {
			continue;
		}

		if (c == '\b' || (unsigned char)c == 0x7F) {
			if (console->buffer_len > 0U) {
				console->buffer_len--;
				console->console_buffer[console->buffer_len] = '\0';
			}
			continue;
		}

		if ((unsigned char)c < 0x08) {
			continue;
		}

		if (console->buffer_len + 1U >= LCD_CONSOLE_BUFFER_SIZE) {
			char *newline = strchr(console->console_buffer, '\n');

			if (newline != NULL) {
				size_t shift = (size_t)(newline - console->console_buffer) + 1U;
				size_t remaining = console->buffer_len - shift;

				memmove(console->console_buffer,
					console->console_buffer + shift,
					remaining);
				console->buffer_len = remaining;
				console->console_buffer[console->buffer_len] = '\0';
				if (console->current_line > 0) {
					console->current_line--;
				}
			} else {
				console->buffer_len = 0U;
				console->console_buffer[0] = '\0';
			}
		}

		console->console_buffer[console->buffer_len++] = c;
		console->console_buffer[console->buffer_len] = '\0';

		if (c == '\n') {
			console->current_line++;
			console->total_lines++;
		}
	}

	if (console->console_label != NULL) {
		lv_label_set_text(console->console_label, console->console_buffer);
		lv_obj_scroll_to_y(console->console_area, LV_COORD_MAX, LV_ANIM_OFF);
	}

	k_mutex_unlock(&console->buffer_mutex);
}

static void lcd_console_handle_input(const char *data, size_t len)
{
	lcd_console_t *console = &g_lcd_console;
	bool changed = false;

	for (size_t i = 0U; i < len; i++) {
		char c = data[i];

		if (c == '\r' || c == '\n') {
			lcd_console_reset_input();
			changed = true;
			continue;
		}

		if (c == '\b' || (unsigned char)c == 0x7F) {
			if (console->input_len > 0U) {
				console->input_len--;
				console->input_buffer[console->input_len] = '\0';
				changed = true;
			}
			continue;
		}

		if (!isprint((unsigned char)c)) {
			continue;
		}

		if (console->input_len + 1U < sizeof(console->input_buffer)) {
			console->input_buffer[console->input_len++] = c;
			console->input_buffer[console->input_len] = '\0';
			changed = true;
		}
	}

	if (changed && console->input_area != NULL && console->shell_enabled) {
		lv_textarea_set_text(console->input_area, console->input_buffer);
	}
}

static void lcd_console_process_queue(void)
{
	struct lcd_console_event evt;

	while (k_msgq_get(&lcd_console_event_queue, &evt, K_NO_WAIT) == 0) {
		if (evt.type == LCD_EVENT_OUTPUT) {
			lcd_console_handle_output(evt.data, evt.len);
		} else {
			lcd_console_handle_input(evt.data, evt.len);
		}
	}
}

int lcd_console_output_hook(int c)
{
	/* Skip LCD output if console not ready or disabled */
	if (!console_initialized || !g_lcd_console.console_enabled) {
		/* Fall back to original output only if LCD is not ready */
		if (original_console_out != NULL) {
			return original_console_out(c);
		}
		return c;
	}

	/* *** LCD重定向模式：不输出到串口，只输出到LCD *** */
	static char line_buffer[128];
	static size_t line_pos;

	/* Handle carriage return - ignore */
	if (c == '\r') {
		return c;
	}

	/* Handle newline - flush buffer and add newline */
	if (c == '\n') {
		if (line_pos > 0U) {
			lcd_console_enqueue(LCD_EVENT_OUTPUT, line_buffer, line_pos);
			line_pos = 0U;
		}
		char newline = '\n';
		lcd_console_enqueue(LCD_EVENT_OUTPUT, &newline, 1U);
		
		/* Process queue immediately if not in ISR */
		if (!k_is_in_isr()) {
			lcd_console_process_queue();
		}
		return c;  /* 返回字符但不传递给原始输出 */
	}

	/* Handle backspace and delete */
	if (c == '\b' || (unsigned char)c == 0x7F) {
		if (line_pos > 0U) {
			line_pos--;
		}
		char backspace = '\b';
		lcd_console_enqueue(LCD_EVENT_OUTPUT, &backspace, 1U);
		if (!k_is_in_isr()) {
			lcd_console_process_queue();
		}
		return c;
	}

	/* Buffer printable characters */
	if (isprint((unsigned char)c) && line_pos < ARRAY_SIZE(line_buffer) - 1U) {
		line_buffer[line_pos++] = (char)c;
	}

	return c;  /* 不调用原始输出，实现完全重定向 */
}

int lcd_console_init(lv_obj_t *parent)
{
	if (console_initialized) {
		return 0;
	}

	memset(&g_lcd_console, 0, sizeof(g_lcd_console));
	k_mutex_init(&g_lcd_console.buffer_mutex);
	k_msgq_purge(&lcd_console_event_queue);

	/* Use the provided parent container directly instead of creating a new full-screen container */
	g_lcd_console.shell_container = parent;

	/* Create console area to fit within the parent container (240x45) */
	g_lcd_console.console_area = create_container(g_lcd_console.shell_container,
						      235,
						      40,
						      2,
						      2,
						      0,
						      1,
						      lv_color_make(0x40, 0x40, 0x40),
						      0,
						      lv_color_black(),
						      0);

	g_lcd_console.console_label = create_label(g_lcd_console.console_area,
					  "",
					  2,
					  2,
					  230,
					  lv_color_make(0xFF, 0xFF, 0xFF),
					  &lv_font_unscii_8,
					  false);

	/* Skip input area for now since space is limited */
	g_lcd_console.input_area = NULL;

	console_initialized = true;

	/* 首先设置控制台状态 */
	g_lcd_console.console_enabled = true;
	g_lcd_console.shell_enabled = true;
	g_lcd_console.buffer_len = 0U;
	g_lcd_console.ansi_state = LCD_ANSI_IDLE;

	lcd_console_reset_input();

	/* 立即写入初始消息 */
	lcd_console_write("ESP32-S3 LCD Console\n", strlen("ESP32-S3 LCD Console\n"));
	lcd_console_write("Shell Ready!\n", strlen("Shell Ready!\n"));

	/* Setup printk redirection */
	original_console_out = __printk_get_hook();
	__printk_hook_install(lcd_console_output_hook);

#if defined(CONFIG_LOG)
	/* Enable LOG backend for LCD console */
	log_backend_enable(&log_backend_lcd_console, NULL, LOG_LEVEL_DBG);
#endif

	/* 强制处理队列确保消息显示 */
	lcd_console_process_queue();

	LOG_INF("LCD Console initialized successfully");
	LOG_INF("All console output redirected to LCD");

	return 0;
}

void lcd_console_enable(bool enable)
{
	g_lcd_console.console_enabled = enable;
	if (enable) {
		lv_obj_clear_flag(g_lcd_console.shell_container, LV_OBJ_FLAG_HIDDEN);
	} else {
		lv_obj_add_flag(g_lcd_console.shell_container, LV_OBJ_FLAG_HIDDEN);
	}
}

void lcd_shell_enable(bool enable)
{
	g_lcd_console.shell_enabled = enable;
	if (enable) {
		lv_obj_clear_flag(g_lcd_console.input_area, LV_OBJ_FLAG_HIDDEN);
	} else {
		lv_obj_add_flag(g_lcd_console.input_area, LV_OBJ_FLAG_HIDDEN);
	}
}

void lcd_console_write(const char *text, size_t length)
{
	if (!console_initialized || text == NULL || length == 0U) {
		return;
	}

	lcd_console_enqueue(LCD_EVENT_OUTPUT, text, length);

	if (!k_is_in_isr()) {
		lcd_console_process_queue();
	}
}

void lcd_console_clear(void)
{
	if (!console_initialized) {
		return;
	}

	k_mutex_lock(&g_lcd_console.buffer_mutex, K_FOREVER);

	g_lcd_console.console_buffer[0] = '\0';
	g_lcd_console.buffer_len = 0U;
	g_lcd_console.current_line = 0;
	g_lcd_console.total_lines = 0;

	if (g_lcd_console.console_label != NULL) {
		lv_label_set_text(g_lcd_console.console_label, "");
	}

	k_mutex_unlock(&g_lcd_console.buffer_mutex);
}

void lcd_shell_process_command(const char *cmd)
{
	if (!console_initialized || cmd == NULL) {
		return;
	}

	char response[256];

	snprintf(response, sizeof(response), "esp32s3:~$ %s\n", cmd);
	lcd_console_write(response, strlen(response));

	if (strcmp(cmd, "help") == 0) {
		lcd_console_write("Available commands:\n", 21);
		lcd_console_write("  help    - Show this help\n", 28);
		lcd_console_write("  clear   - Clear console\n", 27);
		lcd_console_write("  version - Show version\n", 26);
		lcd_console_write("  uptime  - Show uptime\n", 25);
	} else if (strcmp(cmd, "clear") == 0) {
		lcd_console_clear();
		lcd_console_write("Console cleared.\n", 18);
	} else if (strcmp(cmd, "version") == 0) {
		lcd_console_write("ESP32-S3 LCD Console v1.0\n", 28);
		lcd_console_write("Zephyr RTOS + LVGL\n", 21);
	} else if (strcmp(cmd, "uptime") == 0) {
		uint32_t uptime = k_uptime_get_32() / 1000U;
		snprintf(response, sizeof(response), "Uptime: %u seconds\n", uptime);
		lcd_console_write(response, strlen(response));
	} else if (strlen(cmd) > 0U) {
		snprintf(response, sizeof(response), "Unknown command: %s\n", cmd);
		lcd_console_write(response, strlen(response));
	}
}

void lcd_console_update_display(void)
{
	if (!console_initialized) {
		return;
	}

	lcd_console_process_queue();

	static uint32_t last_update;
	uint32_t now = k_uptime_get_32();

	if (now - last_update > 10000U) {
		char time_str[48];
		uint32_t seconds = now / 1000U;
		uint32_t minutes = seconds / 60U;
		uint32_t hours = minutes / 60U;

		snprintf(time_str, sizeof(time_str),
			 "[%02u:%02u:%02u] System OK\n",
			 (unsigned int)(hours % 24U),
			 (unsigned int)(minutes % 60U),
			 (unsigned int)(seconds % 60U));
		lcd_console_write(time_str, strlen(time_str));
		last_update = now;
	}
}

lcd_console_t *lcd_console_get_instance(void)
{
	return console_initialized ? &g_lcd_console : NULL;
}

void lcd_console_deinit(void)
{
	if (!console_initialized) {
		return;
	}

	/* Restore original printk hook */
	if (original_console_out != NULL) {
		__printk_hook_install(original_console_out);
		original_console_out = NULL;
	}

#if defined(CONFIG_LOG)
	/* Disable LCD LOG backend */
	log_backend_disable(&log_backend_lcd_console);
#endif

	console_initialized = false;
	
	LOG_INF("LCD Console deinitialized");
}

void lcd_console_set_redirect_mode(bool enable_printk, bool enable_log)
{
	if (!console_initialized) {
		return;
	}

	/* Control printk redirection */
	if (enable_printk && original_console_out == NULL) {
		original_console_out = __printk_get_hook();
		__printk_hook_install(lcd_console_output_hook);
	} else if (!enable_printk && original_console_out != NULL) {
		__printk_hook_install(original_console_out);
		original_console_out = NULL;
	}

#if defined(CONFIG_LOG)
	/* Control LOG redirection */
	if (enable_log) {
		log_backend_enable(&log_backend_lcd_console, NULL, LOG_LEVEL_DBG);
	} else {
		log_backend_disable(&log_backend_lcd_console);
	}
#endif
}

#if defined(CONFIG_LCD_CONSOLE_MIRROR)
void lcd_console_mirror_tx_feed(const uint8_t *data, size_t len)
{
	if (!console_initialized || data == NULL || len == 0U) {
		return;
	}

	lcd_console_enqueue(LCD_EVENT_OUTPUT, (const char *)data, len);

	if (!k_is_in_isr()) {
		lcd_console_process_queue();
	}
}

void lcd_console_mirror_rx_feed(const uint8_t *data, size_t len)
{
	if (!console_initialized || data == NULL || len == 0U) {
		return;
	}

	lcd_console_enqueue(LCD_EVENT_INPUT, (const char *)data, len);

	if (!k_is_in_isr()) {
		lcd_console_process_queue();
	}
}
#endif /* CONFIG_LCD_CONSOLE_MIRROR */
```

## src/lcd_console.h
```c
/*
 * LCD Console Redirect Module
 * Copyright (c) 2025 Heiweilu
 *
 * SPDX-License-Identifier: Apache-2.0
 *
 * This module redirects console output (printk, LOG) to LCD display
 * and provides shell interface functionality
 */

#ifndef LCD_CONSOLE_H
#define LCD_CONSOLE_H

#include <zephyr/kernel.h>
#include <zephyr/device.h>
#include <lvgl.h>
#include <zephyr/logging/log.h>

#ifdef __cplusplus
extern "C" {
#endif

/* LCD Console Configuration */
#define LCD_CONSOLE_BUFFER_SIZE 2048
#define LCD_CONSOLE_MAX_LINES   20
#define LCD_CONSOLE_LINE_HEIGHT 12
#define LCD_CONSOLE_FONT_SIZE   8

/* LCD Console structure */
typedef struct {
    lv_obj_t *console_area;       /* Console display area */
    lv_obj_t *console_label;      /* Console text label */
    lv_obj_t *input_area;         /* Input text area */
    lv_obj_t *shell_container;    /* Shell container */
    
    char console_buffer[LCD_CONSOLE_BUFFER_SIZE];  /* Console text buffer */
    char input_buffer[256];       /* Input buffer */
    
    int current_line;             /* Current line number */
    int total_lines;              /* Total lines in buffer */
    bool shell_enabled;           /* Shell interface enabled */
    bool console_enabled;         /* Console output enabled */
    size_t buffer_len;            /* Current length of console buffer */
    size_t input_len;             /* Current length of input buffer */
    enum {
        LCD_ANSI_IDLE = 0,
        LCD_ANSI_ESC,
        LCD_ANSI_CSI
    } ansi_state;                 /* ANSI escape state tracker */
    
    struct k_mutex buffer_mutex;  /* Buffer access mutex */
} lcd_console_t;

/* Function prototypes */

/**
 * @brief Initialize LCD console system
 * @param parent Parent object for console
 * @return 0 on success, negative error code on failure
 */
int lcd_console_init(lv_obj_t *parent);

/**
 * @brief Enable/disable console output to LCD
 * @param enable true to enable, false to disable
 */
void lcd_console_enable(bool enable);

/**
 * @brief Enable/disable shell interface
 * @param enable true to enable, false to disable
 */
void lcd_shell_enable(bool enable);

/**
 * @brief Add text to console buffer and update display
 * @param text Text to add
 * @param length Length of text
 */
void lcd_console_write(const char *text, size_t length);

/**
 * @brief Clear console buffer and display
 */
void lcd_console_clear(void);

/**
 * @brief Process shell command input
 * @param cmd Command string
 */
void lcd_shell_process_command(const char *cmd);

/**
 * @brief Update console display
 */
void lcd_console_update_display(void);

/**
 * @brief Get console instance
 * @return Pointer to console instance
 */
lcd_console_t *lcd_console_get_instance(void);

/**
 * @brief Deinitialize LCD console and restore original output
 */
void lcd_console_deinit(void);

/**
 * @brief Control redirection modes
 * @param enable_printk Enable/disable printk redirection to LCD
 * @param enable_log Enable/disable LOG redirection to LCD
 */
void lcd_console_set_redirect_mode(bool enable_printk, bool enable_log);

/* Custom console output hook function */
int lcd_console_output_hook(int c);

#ifdef __cplusplus
}
#endif

#endif /* LCD_CONSOLE_H */
```

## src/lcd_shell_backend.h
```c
/*
 * LCD Shell Backend - Real Interactive Shell
 * Copyright (c) 2025 Heiweilu
 *
 * SPDX-License-Identifier: Apache-2.0
 */

#ifndef LCD_SHELL_BACKEND_H
#define LCD_SHELL_BACKEND_H

#include <zephyr/shell/shell.h>
#include <stddef.h>
#include <stdint.h>

/**
 * Initialize the LCD shell backend 
 * memset shell_input_buffer 0
 * init mutex
 * memset latest_msg 0
 * 
*/
int lcd_shell_backend_init(void);

/* Get reference to the LCD shell instance */
const struct shell *lcd_shell_get_instance(void);

/* Send input to shell */
void lcd_shell_send_input(const char *input, size_t len);

/* Display output callback type */
typedef void (*lcd_shell_output_cb_t)(const char *data, size_t len);

/* Set output callback */
void lcd_shell_set_output_callback(lcd_shell_output_cb_t callback);

/* Message types delivered by backend -> main
 * MSG_TYPE_INPUT: normal input update; payload is NUL-terminated current input line
 * MSG_TYPE_ENTER: Enter pressed; payload is ignored. Main should clear the last
 *                 printed command line from the display buffer.
 */
#define MSG_TYPE_INPUT 0x1F
#define MSG_TYPE_ENTER 0x1E

/**
 * Try to pop an input update message from backend queue. Returns length of
 * input (0 if empty). out_buf will be NUL-terminated.
 * @param out_type Pointer to uint8_t to receive message type (MSG_TYPE_INPUT or
 * MSG_TYPE_ENTER). Can be NULL if type not needed.
 * @param out_buf Pointer to buffer to receive input string. Must be at least
 * SHELL_INPUT_BUFFER_SIZE bytes.
 * @param max_len Maximum length of out_buf (including NUL). Must be >
 * 0.
 * @return Length of input string (excluding NUL), or 0 if no message available
 */
int lcd_shell_try_get_input(uint8_t *out_type, char *out_buf, size_t max_len);

#endif /* LCD_SHELL_BACKEND_H */
```
